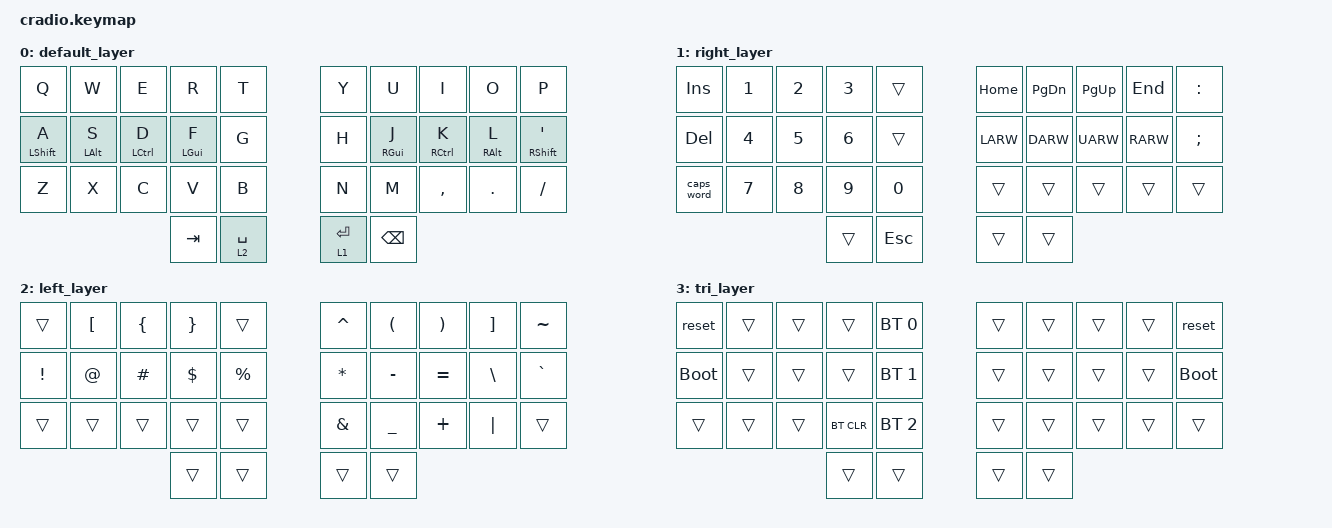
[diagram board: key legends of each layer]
// Copyright (c) 2022 The ZMK Contributors
// SPDX-License-Identifier: MIT

#include <behaviors.dtsi>
#include <dt-bindings/zmk/keys.h>
#include <dt-bindings/zmk/bt.h>

/ {
    behaviors {
        ht: hold_tap {
            label = "hold_tap";
            compatible = "zmk,behavior-hold-tap";
            #binding-cells = <2>;
            flavor = "tap-preferred";
            tapping-term-ms = <220>;
            quick-tap-ms = <150>;
            global-quick-tap;
            bindings =
                <&kp>,
                <&kp>;
        };
    };

    conditional_layers {
        compatible = "zmk,conditional-layers";

        tri_layer {
            if-layers = <1 2>;
            then-layer = <3>;
        };
    };

    keymap {
        compatible = "zmk,keymap";

        default_layer {
            bindings = <
   &kp Q  &kp W  &kp E  &kp R  &kp T  &kp Y  &kp U  &kp I  &kp O  &kp P  
   &ht LSHFT A  &ht LALT S  &ht LCTL D  &ht LGUI F  &kp G  &kp H  &ht RGUI J  &ht RCTRL K  &ht RALT L  &ht RSHFT SQT    
   &kp Z  &kp X  &kp C  &kp V &kp B  &kp N  &kp M  &kp COMMA  &kp DOT  &kp FSLH  
   &kp TAB  &lt 2 SPACE  &lt 1 ENTER  &kp BACKSPACE
            >;
        };

        right_layer {
            bindings = <
    &kp INS  &kp N1  &kp N2  &kp N3   &trans  &kp HOME  &kp PG_DN  &kp PG_UP   &kp END  &kp COLON
    &kp DEL  &kp N4  &kp N5  &kp N6   &trans  &kp LARW   &kp DARW   &kp UARW  &kp RARW   &kp SEMI
 &caps_word  &kp N7  &kp N8  &kp N9   &kp N0    &trans     &trans     &trans    &trans     &trans
                             &trans  &kp ESC    &trans     &trans
            >;
        };

        left_layer {
            bindings = <
   &trans  &kp LBKT  &kp LBRC  &kp RBRC     &trans  &kp CARET   &kp LPAR   &kp RPAR  &kp RBKT  &kp TILDE
 &kp EXCL    &kp AT  &kp HASH  &kp DLLR  &kp PRCNT  &kp ASTRK  &kp MINUS  &kp EQUAL  &kp BSLH  &kp GRAVE
   &trans    &trans    &trans    &trans     &trans   &kp AMPS  &kp UNDER   &kp PLUS  &kp PIPE     &trans
                                 &trans     &trans     &trans     &trans
            >;
        };

        tri_layer {
            bindings = <
      &reset  &trans  &trans      &trans  &bt BT_SEL 0  &trans  &trans  &trans  &trans       &reset
 &bootloader  &trans  &trans      &trans  &bt BT_SEL 1  &trans  &trans  &trans  &trans  &bootloader
      &trans  &trans  &trans  &bt BT_CLR  &bt BT_SEL 2  &trans  &trans  &trans  &trans       &trans
                                  &trans        &trans  &trans  &trans
            >;
        };
    };
};
